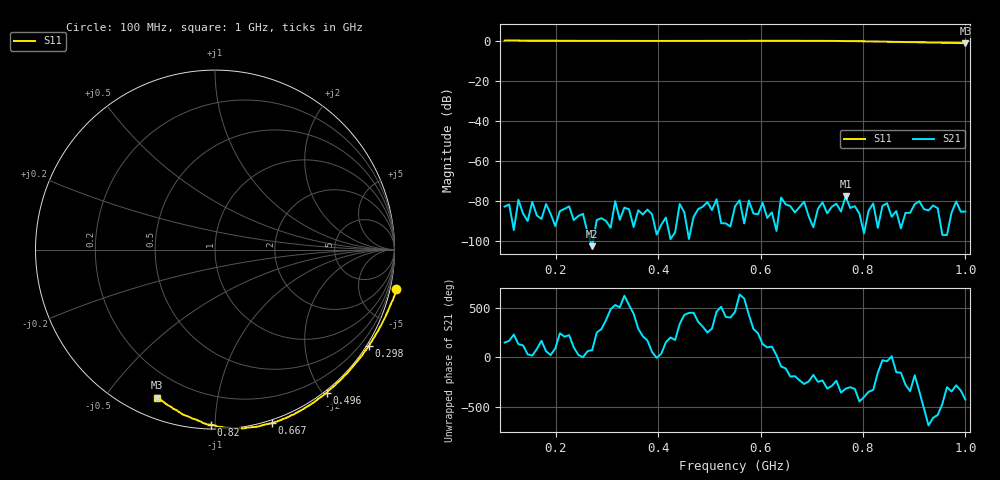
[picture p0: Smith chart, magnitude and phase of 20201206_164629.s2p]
# HZ S RI R 50
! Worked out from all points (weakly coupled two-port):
!   101 points, 100 MHz to 1 GHz, reference 50 ohm
!   highest |S21| = -77.77 dB at 766 MHz (marker M1); lowest = -102.7 dB at 271 MHz (marker M2)
!   lowest |S11| = -1.1 dB at 1 GHz (marker M3), VSWR 16.50, Z = 4.44 - j34 ohm
!   |S11| at or under -10 dB: nowhere
!   S12 and S22 are empty: the file has one direction only
!   S11 on the Smith chart (normalised r, x): 100 MHz: -1.28, -9.10; 298 MHz: -0.07, -3.49; 496 MHz: -0.03, -2.05; 667 MHz: -0.03, -1.38; 820 MHz: 0.02, -0.98; 1 GHz: 0.09, -0.68
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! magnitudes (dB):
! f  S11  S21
! 100 MHz  0.3  -82.9
! 127 MHz  0.3  -79.5
! 136 MHz  0.3  -86.4
! 253 MHz  0.1  -86.5
! 271 MHz  0.1  -102.7
! 298 MHz  0.1  -90.1
! 406 MHz  0.1  -92.0
! 496 MHz  0.1  -80.7
! 514 MHz  0.1  -79.3
! 523 MHz  0.1  -91.2
! 550 MHz  0.1  -82.8
! 631 MHz  0.2  -95.1
! 640 MHz  0.2  -78.3
! 649 MHz  0.2  -81.8
! 667 MHz  0.1  -85.8
! 703 MHz  0.1  -93.2
! 757 MHz  0.0  -85.4
! 766 MHz  0.0  -77.8
! 775 MHz  0.0  -83.6
! 820 MHz  -0.2  -81.4
! 856 MHz  -0.4  -88.0
! 1 GHz  -1.1  -85.4
